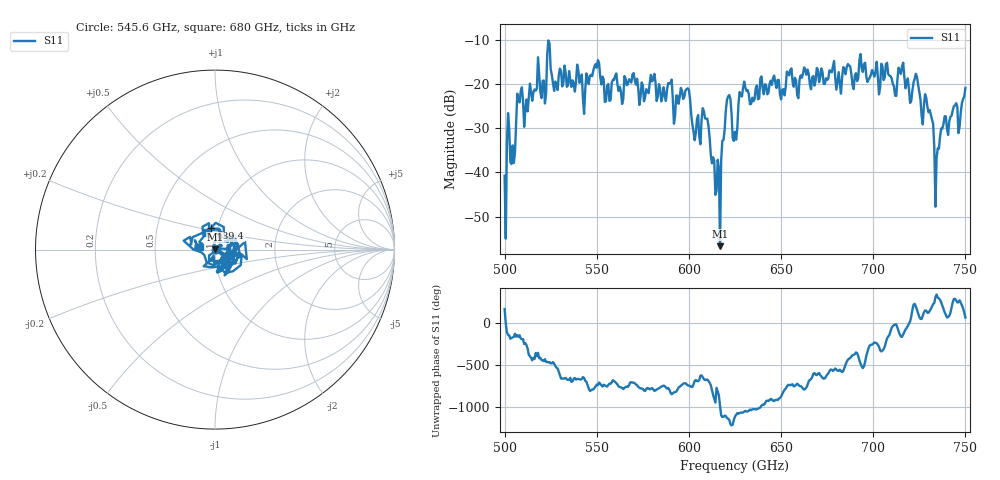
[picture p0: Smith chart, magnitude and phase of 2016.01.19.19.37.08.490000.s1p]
!Created with skrf (http://scikit-rf.org).
# GHz S RI R 50.0
!freq ReS11 ImS11
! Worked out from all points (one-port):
!   401 points, 500 GHz to 750 GHz, reference 50 ohm
!   lowest |S11| = -56.6 dB at 616.9 GHz (marker M1), VSWR 1.00, Z = 50 + j0.146 ohm
!   |S11| at or under -10 dB: start of sweep to end of sweep
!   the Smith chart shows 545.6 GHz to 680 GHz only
!   S11 on the Smith chart (normalised r, x): 545.6 GHz: 1.10, -0.18; 639.4 GHz: 0.93, +0.23; 680 GHz: 0.84, +0.03
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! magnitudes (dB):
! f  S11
! 500 GHz  -40.8
! 502.5 GHz  -30.2
! 504.4 GHz  -33.9
! 508.1 GHz  -24.2
! 521.2 GHz  -19.2
! 524.4 GHz  -10.9
! 527.5 GHz  -19.5
! 531.2 GHz  -20.6
! 545.6 GHz  -20.1
! 562.5 GHz  -20.7
! 593.8 GHz  -22.6
! 599.4 GHz  -21.0
! 603.1 GHz  -32.7
! 608.8 GHz  -27.8
! 615.6 GHz  -37.1
! 616.9 GHz  -56.6
! 621.2 GHz  -22.9
! 625 GHz  -30.8
! 628.8 GHz  -22.9
! 639.4 GHz  -18.3
! 656.2 GHz  -19.6
! 680 GHz  -21.3
! 687.5 GHz  -16.1
! 718.8 GHz  -18.8
! 729.4 GHz  -25.1
! 734.4 GHz  -36.7
! 738.1 GHz  -29.0
! 750 GHz  -20.9
